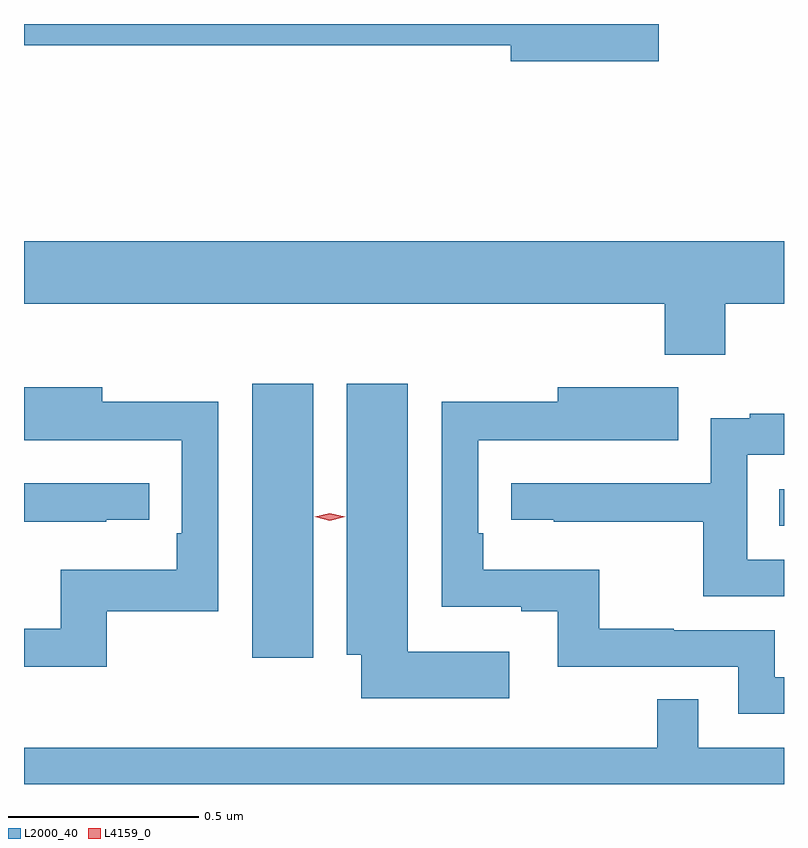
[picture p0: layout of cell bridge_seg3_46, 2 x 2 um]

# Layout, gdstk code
import gdstk
lib = gdstk.Library(unit=1e-6, precision=1e-09)
def R(c, l, rs):  # rectangles x0, y0, x1, y1
    for r in rs: c.add(gdstk.rectangle(r[:2], r[2:], *l))
def P(c, l, *ps):  # polygons
    for p in ps: c.add(gdstk.Polygon(p, *l))
L2000_40 = (2000, 40)
L4159_0 = (4159, 0)

bridge_seg3_46 = lib.new_cell('bridge_seg3_46')
R(bridge_seg3_46, L2000_40, [(1058.879,680.004,1059.04,680.725), (1060.267,680.352,1060.279,680.448)])
P(bridge_seg3_46, L2000_40, [(1059.949,681.672),(1058.279,681.672),(1058.279,681.616),(1059.56,681.616),(1059.56,681.574),(1059.949,681.574)],
  [(1060.125,680.936),(1060.279,680.936),(1060.279,681.1),(1058.279,681.1),(1058.279,680.936),(1059.965,680.936),(1059.965,680.801),(1060.125,680.801)],
  [(1059.556,680.02),(1059.289,680.02),(1059.289,680.725),(1059.128,680.725),(1059.128,680.012),(1059.167,680.012),(1059.167,679.898),(1059.556,679.898)],
  [(1058.497,680.127),(1058.79,680.127),(1058.79,680.678),(1058.485,680.678),(1058.485,680.716),(1058.279,680.716),(1058.279,680.576),(1058.381,680.576),(1058.381,680.577),(1058.694,680.577),(1058.694,680.332),(1058.681,680.332),(1058.681,680.236),(1058.376,680.236),(1058.376,680.081),(1058.279,680.081),(1058.279,679.98),(1058.497,679.98)],
  [(1060.279,679.953),(1060.254,679.953),(1060.254,680.076),(1059.989,680.076),(1059.989,680.081),(1059.793,680.081),(1059.793,680.236),(1059.488,680.236),(1059.488,680.332),(1059.474,680.332),(1059.474,680.577),(1059.787,680.577),(1059.787,680.576),(1060.001,680.576),(1060.001,680.716),(1059.683,680.716),(1059.683,680.678),(1059.378,680.678),(1059.378,680.139),(1059.587,680.139),(1059.587,680.127),(1059.684,680.127),(1059.684,679.98),(1060.158,679.98),(1060.158,679.857),(1060.279,679.857)],
  [(1060.279,680.262),(1060.182,680.262),(1060.182,680.538),(1060.279,680.538),(1060.279,680.647),(1060.189,680.647),(1060.189,680.635),(1060.086,680.635),(1060.086,680.463),(1059.561,680.463),(1059.561,680.367),(1059.673,680.367),(1059.673,680.362),(1060.066,680.362),(1060.066,680.166),(1060.279,680.166)],
  [(1058.495,680.367),(1058.608,680.367),(1058.608,680.463),(1058.279,680.463),(1058.279,680.362),(1058.495,680.362)],
  [(1060.279,679.768),(1060.053,679.768),(1060.053,679.895),(1059.945,679.895),(1059.945,679.768),(1058.279,679.768),(1058.279,679.672),(1060.279,679.672)])
P(bridge_seg3_46, L4159_0, [(1059.084,680.365),(1059.044,680.375),(1059.044,680.375),(1059.044,680.375),(1059.084,680.385),(1059.124,680.375),(1059.124,680.375),(1059.124,680.375)])

lib.write_gds('bridge_seg3_46.gds')
